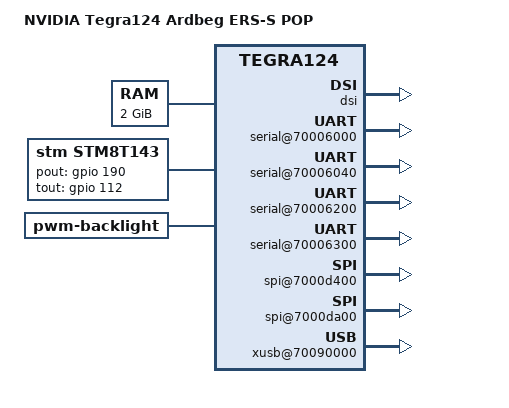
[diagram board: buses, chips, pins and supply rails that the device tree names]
/*
 * arch/arm/boot/dts/tegra124-e1923.dts
 *
 * Copyright (c) 2014, NVIDIA CORPORATION.  All rights reserved.
 *
 * This program is free software; you can redistribute it and/or modify
 * it under the terms of the GNU General Public License as published by
 * the Free Software Foundation; either version 2 of the License, or
 * (at your option) any later version.
 *
 * This program is distributed in the hope that it will be useful, but WITHOUT
 * ANY WARRANTY; without even the implied warranty of MERCHANTABILITY or
 * FITNESS FOR A PARTICULAR PURPOSE.  See the GNU General Public License for
 * more details.
 *
 * You should have received a copy of the GNU General Public License along
 * with this program; if not, write to the Free Software Foundation, Inc.,
 * 51 Franklin Street, Fifth Floor, Boston, MA  02110-1301, USA.
 */
/dts-v1/;

#include "tegra124-soc-shield.dtsi"
#include "tegra124-platforms/tegra124-ardbeg-powermon-e1780-1000-a01.dtsi"
#include "tegra124-platforms/tegra124-e1923-emc.dtsi"
#include "tegra124-platforms/tegra124-tn8-gpio-e1780-1100-a02.dtsi"
#include "tegra124-platforms/tegra124-tn8-pinmux-e1780-1100-a02.dtsi"
#include "tegra124-platforms/tegra124-tn8-keys-e1780-1100-a02.dtsi"
#include "panel-p-wuxga-10-1.dtsi"
#include "tegra124-platforms/tegra124-ardbeg-hdmi-e1780-1000-a00.dtsi"

/ {
	model = "NVIDIA Tegra124 Ardbeg ERS-S POP";
	compatible = "nvidia,ardbeg", "nvidia,tegra124";
	nvidia,dtsfilename = __FILE__;
	nvidia,boardids = "1923:1000:0";
	#address-cells = <2>;
	#size-cells = <2>;

	chosen {
		bootargs = "tegraid=40.0.0.00.00 vmalloc=256M video=tegrafb console=ttyS0,115200n8 earlyprintk";
		linux,initrd-start = <0x85000000>;
		linux,initrd-end = <0x851bc400>;
	};

	firmware {
		android {
			compatible = "android,firmware";
			hardware = "ardbeg";
		};
	};

	host1x {
		/* tegradc.0 */
		dc@54200000 {
			status = "okay";
			nvidia,dc-flags = <TEGRA_DC_FLAG_ENABLED>;
			nvidia,emc-clk-rate = <204000000>;
			nvidia,cmu-enable = <1>;
			nvidia,low-v-win = <0x2>;
			nvidia,fb-bpp = <32>; /* bits per pixel */
			nvidia,fb-flags = <TEGRA_FB_FLIP_ON_PROBE>;
		};
		/* tegradc.1 */
		dc@54240000 {
			status = "okay";
			nvidia,dc-flags = <TEGRA_DC_FLAG_ENABLED>;
			nvidia,emc-clk-rate = <300000000>;
			nvidia,fb-bpp = <32>; /* bits per pixel */
			nvidia,fb-flags = <TEGRA_FB_FLIP_ON_PROBE>;
		};
		dsi {
			nvidia,dsi-controller-vs = <1>;
			status = "okay";
			panel-p-wuxga-10-1 {
				nvidia,dsi-dpd-pads = <DSIC_DPD_EN DSID_DPD_EN>;
				nvidia,panel-rst-gpio = <&gpio TEGRA_GPIO(H, 3) 0>; /* PH3 */
				nvidia,panel-bl-pwm-gpio = <&gpio TEGRA_GPIO(H, 1) 0>; /* PH1 */
			};
		};
	};
        serial@70006000 {
                compatible = "nvidia,tegra114-hsuart";
                status = "okay";
        };

        serial@70006040 {
                compatible = "nvidia,tegra114-hsuart";
                status = "okay";
        };

        serial@70006200 {
                compatible = "nvidia,tegra114-hsuart";
                status = "okay";
        };

        serial@70006300 {
                compatible = "nvidia,tegra20-uart", "nvidia,tegra114-hsuart";
		console-port;
		sqa-automation-port;
		status = "okay";
        };

	memory@0x80000000 {
		device_type = "memory";
		reg = <0x0 0x80000000 0x0 0x80000000>;
	};

	i2c@7000d000 {
		nvidia,bit-banging-xfer-after-shutdown;
	};

	spi@7000d400 {
		status = "okay";
		spi-max-frequency = <25000000>;
	};

	spi@7000da00 {
		status = "okay";
		spi-max-frequency = <25000000>;
	};

	pmc@7000e400 {
		status = "okay";
		nvidia,invert-interrupt;
		nvidia,suspend-mode = <0>;
		nvidia,cpu-pwr-good-time = <500>;
		nvidia,cpu-pwr-off-time = <300>;
		nvidia,core-pwr-good-time = <3845 3845>;
		nvidia,core-pwr-off-time = <2000>;
		nvidia,core-power-req-active-high;
		nvidia,sys-clock-req-active-high;
	};

	stm8t143 {
		compatible = "stm,stm8t143";
		pout-gpio = <&gpio 190 0>;
		tout-gpio = <&gpio 112 0>;
	};

	xusb@70090000 {
		/* nvidia,uses_external_pmic;
		nvidia,gpio_controls_muxed_ss_lanes; */
		nvidia,gpio_ss1_sata = <0>;
		nvidia,portmap = <0x703>; /* SSP0, SSP1 USB2P0, USB2P1, USBP2 */
		nvidia,ss_portmap = <0x20>; /* SSP0 on USB2P0, SSP1 on USB2P2 */
		nvidia,lane_owner = <6>; /* USB3P0 USB3P1 */
		nvidia,ulpicap = <0>; /* No ulpi support. can we remove */
		/* hsic config values in order defined in structure */
		nvidia,hsic0 = /bits/8 <0x1 0x1 0x8 0xa 0 0 1 0x22 0>;
		status = "okay";
	};
	backlight {
		compatible = "pwm-backlight";
		status = "okay";
	};
};
